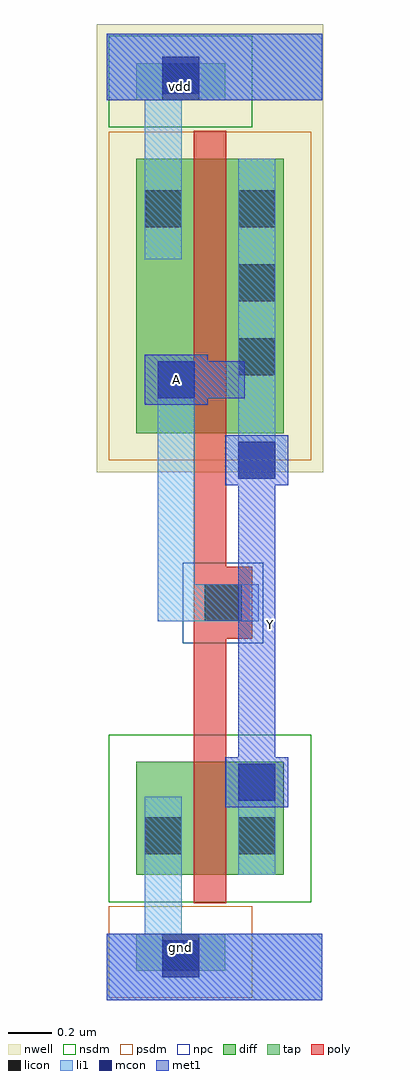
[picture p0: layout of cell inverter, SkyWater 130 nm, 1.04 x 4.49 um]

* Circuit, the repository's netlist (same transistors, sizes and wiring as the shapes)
* SPICE3 file created from inverter.ext - technology: sky130A

.subckt inverter Y A
M1000 Y A vdd vdd pshort w=1.26u l=0.15u
+  ad=0.3339p pd=3.05u as=0.3339p ps=3.05u
M1001 Y A gnd gnd nshort w=0.52u l=0.15u
+  ad=0.1378p pd=1.57u as=0.1378p ps=1.57u
.ends

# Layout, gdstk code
import gdstk
lib = gdstk.Library(unit=1e-6, precision=1e-09)
def R(c, l, rs):  # rectangles x0, y0, x1, y1
    for r in rs: c.add(gdstk.rectangle(r[:2], r[2:], *l))
def A(c, l, x, y, w, h, nx, ny, dx, dy):  # array of equal rectangles
    R(c, l, [(x+i*dx, y+j*dy, x+i*dx+w, y+j*dy+h) for i in range(nx) for j in range(ny)])
nwell = (64, 20)
diff = (65, 20)
tap = (65, 44)
poly = (66, 20)
licon = (66, 44)
li1 = (67, 20)
mcon = (67, 44)
met1 = (68, 20)
nsdm = (93, 44)
psdm = (94, 20)
npc = (95, 20)

inverter = lib.new_cell('inverter')
R(inverter, nwell, [(-0.045,2.425,0.995,4.485)])
R(inverter, diff, [(0.135,0.575,0.815,1.095), (0.135,2.605,0.815,3.865)])
R(inverter, tap, [(0.135,0.135,0.545,0.305), (0.135,4.135,0.545,4.305)])
R(inverter, poly, [(0.4,0.445,0.55,1.66), (0.4,1.66,0.67,1.99), (0.4,1.99,0.55,3.995)])
A(inverter, licon, 0.605, 2.87, 0.17, 0.17, 1, 3, 0, 0.34)
R(inverter, licon, [(0.255,0.135,0.425,0.305), (0.175,0.67,0.345,0.84), (0.605,0.67,0.775,0.84), (0.45,1.74,0.62,1.91), (0.175,3.55,0.345,3.72), (0.255,4.135,0.425,4.305)])
R(inverter, li1, [(0,0,0.99,0.305), (0.175,0.305,0.345,0.935), (0.605,0.575,0.775,1.085), (0.235,1.74,0.7,1.91), (0.235,1.91,0.405,2.935), (0.605,2.395,0.775,3.865), (0.175,3.405,0.345,4.135), (0,4.135,0.99,4.44)])
R(inverter, mcon, [(0.255,0.105,0.425,0.275), (0.605,0.915,0.775,1.085), (0.605,2.395,0.775,2.565), (0.235,2.765,0.405,2.935), (0.255,4.165,0.425,4.335)])
R(inverter, met1, [(0,0,0.99,0.305), (0.545,0.885,0.835,1.115), (0.605,1.115,0.775,2.365), (0.545,2.365,0.835,2.595), (0.175,2.735,0.465,2.765), (0.175,2.765,0.635,2.935), (0.175,2.935,0.465,2.965), (0,4.135,0.99,4.44)])
R(inverter, nsdm, [(0.01,0.45,0.94,1.22), (0.01,4.01,0.67,4.43)])
R(inverter, psdm, [(0.01,0.01,0.67,0.43), (0.01,2.48,0.94,3.99)])
R(inverter, npc, [(0.35,1.64,0.72,2.01)])
inverter.add(gdstk.Label('gnd', (0.34,0.24), layer=68, texttype=16))
inverter.add(gdstk.Label('vdd', (0.34,4.2), layer=68, texttype=16))
inverter.add(gdstk.Label('Y', (0.755,1.725), layer=68, texttype=5))
inverter.add(gdstk.Label('A', (0.32,2.85), layer=68, texttype=5))

lib.write_gds('inverter.gds')
